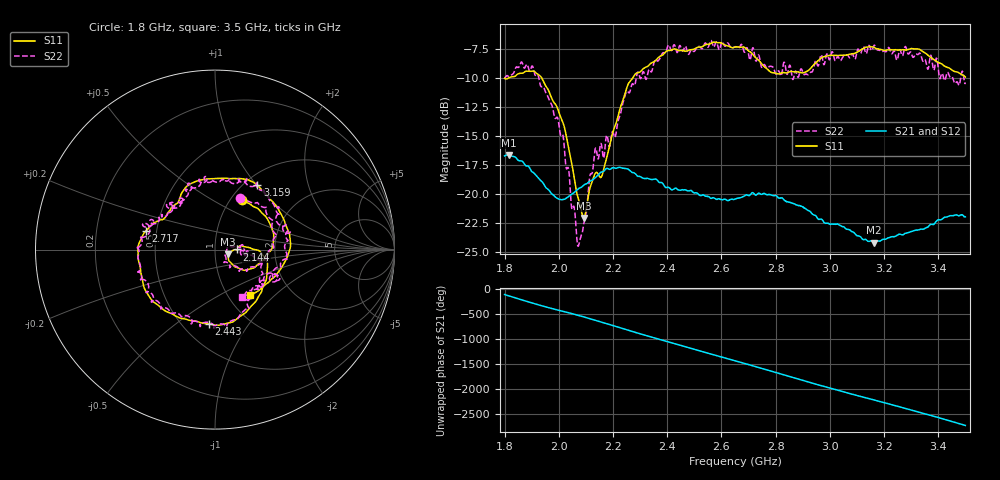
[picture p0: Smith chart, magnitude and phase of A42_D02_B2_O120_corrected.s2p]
! Created with skrf 1.9.0 (http://scikit-rf.org).
# Hz S RI R 50.0
!freq ReS11 ImS11 ReS21 ImS21 ReS12 ImS12 ReS22 ImS22
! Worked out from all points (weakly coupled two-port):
!   1601 points, 1.8 GHz to 3.5 GHz, reference 50 ohm
!   highest |S21| = -16.65 dB at 1.815 GHz (marker M1); lowest = -24.2 dB at 3.163 GHz (marker M2)
!   lowest |S11| = -22.1 dB at 2.092 GHz (marker M3), VSWR 1.17, Z = 57.9 - j3.06 ohm
!   |S11| at or under -10 dB: start of sweep to 1.815 GHz; 1.937 GHz to 2.273 GHz (335.8 MHz wide, 16 % of centre)
!   |S22| runs from -24.5 to -6.8 dB; largest |S21 - S12| = 0.0025
!   S11 on the Smith chart (normalised r, x): 1.8 GHz: 1.12, +0.69; 2.144 GHz: 1.28, +0.00; 2.443 GHz: 0.67, -0.67; 2.717 GHz: 0.44, +0.11; 3.159 GHz: 1.14, +1.01; 3.5 GHz: 1.27, -0.71
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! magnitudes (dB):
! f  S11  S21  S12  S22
! 1.8 GHz  -10.0  -16.7  -16.7  -10.0
! 1.815 GHz  -10.0  -16.7  -16.7  -9.9
! 1.902 GHz  -9.4  -18.1  -18.1  -9.0
! 1.966 GHz  -11.3  -19.8  -19.8  -12.0
! 2.014 GHz  -13.8  -20.5  -20.5  -14.9
! 2.07 GHz  -20.2  -19.6  -19.6  -24.5
! 2.084 GHz  -21.6  -19.4  -19.4  -23.5
! 2.092 GHz  -22.1  -19.3  -19.3  -22.6
! 2.128 GHz  -18.6  -18.7  -18.7  -17.3
! 2.144 GHz  -18.3  -18.4  -18.4  -17.0
! 2.209 GHz  -14.1  -17.8  -17.8  -15.0
! 2.258 GHz  -10.4  -17.9  -17.9  -11.3
! 2.367 GHz  -8.2  -19.0  -18.9  -8.5
! 2.443 GHz  -7.6  -19.7  -19.7  -7.4
! 2.65 GHz  -7.3  -20.5  -20.4  -7.3
! 2.717 GHz  -8.0  -19.9  -19.9  -7.4
! 2.804 GHz  -9.6  -20.2  -20.2  -9.6
! 2.934 GHz  -9.0  -21.7  -21.7  -9.5
! 3.159 GHz  -7.3  -24.2  -24.1  -7.4
! 3.163 GHz  -7.4  -24.2  -24.2  -7.2
! 3.217 GHz  -7.6  -23.8  -23.8  -7.4
! 3.5 GHz  -9.9  -22.0  -22.0  -10.4
